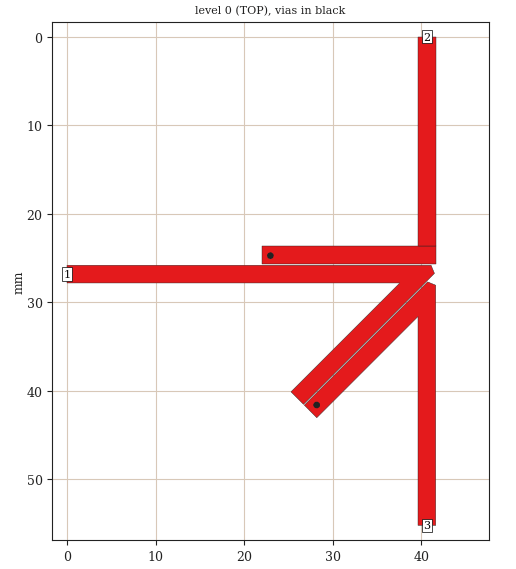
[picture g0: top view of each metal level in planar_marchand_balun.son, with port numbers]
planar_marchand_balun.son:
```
FTYP SONPROJ 13 ! Sonnet Project File
VER 15.52
DIM
ANG DEG
CAP PF
CON /OH
FREQ GHZ
IND NH
LNG MM
RES OH
END DIM
FREQ
SWEEP 0.01 6.0 0.2
END FREQ
CONTROL
STD
OPTIONS  -d
SPEED 0
CACHE_ABS 1
Q_ACC N
END CONTROL
GEO
TMET "Lossless" 0 SUP 0 0 0 0
BMET "Lossless" 0 SUP 0 0 0 0
MET "Copper" 1 NOR 58000000 1 0.035 
MET "Copper" 1 VOL 58000000 SOLID 0
BOX 1 46 55.2 1840 2208 20 0
      20 1 1 0 0 0 0 "AIr"
      1.6 4.3 1 0.02 0 0 0 "FR-4"
TECHLAY METAL TOP TOP -2 0 
0 0 0 N 0 1 1 100 100 0 0 0 Y
END
END
TECHLAY VIA Vias DIELECTRIC -1 0 
VIA POLYGON
0 0 1 N 0 1 1 100 100 0 0 0 Y
TOLEVEL GND RING NOCOVERS
END
END
LORGN 0 55.2 U 
POR1 STD
POLY 11 1
3
1 50 0 0 0 0 26.82537384 
POR1 STD
POLY 13 1
8
3 50 0 0 0 40.63887024 55.2 
POR1 STD
POLY 20 1
0
2 50 0 0 0 40.67889786 0.01071472168 
NUM 10
0 11 0 N 11 1 1 100 100 0 0 0 Y
TLAYNAM TOP INH
41.49660492 26.74298115
41.11651611 25.82537384
14 25.82537384
0 25.82537384
0 27.82537384
14 27.82537384
37.58578491 27.82537384
25.29289246 40.11826665
26.70710754 41.53248025
41.49660492 26.74298115
41.49660492 26.74298115
END
0 11 0 N 13 1 1 100 100 0 0 0 Y
TLAYNAM TOP INH
41.63887024 55.2
41.63887024 39.77182312
41.63887024 28.08156319
40.72126007 27.7014782
26.79782104 41.62491791
28.20638275 43.04478366
39.63887024 31.61229725
39.63887024 39.77182312
39.63887024 55.2
41.63887024 55.2
41.63887024 55.2
END
0 37 0 N 15 1 1 100 100 0 0 0 Y
TLAYNAM TOP INH
28.56821442 41.60567449
28.56251526 41.54055641
28.54560089 41.47741694
28.51797485 41.41817446
28.48048401 41.3646291
28.43425751 41.31840785
28.38071442 41.28091497
28.32147217 41.25328977
28.2583313 41.23637159
28.19321442 41.23067446
28.12809753 41.23637159
28.06495667 41.25328977
28.00571442 41.28091491
27.95217133 41.31840779
27.90594482 41.36462904
27.86845398 41.4181744
27.84082794 41.47741683
27.82391357 41.54055629
27.81821442 41.60567434
27.82391357 41.67079241
27.84082794 41.73393188
27.86845398 41.79317434
27.90594482 41.84671969
27.95217133 41.8929411
28.00571442 41.93043394
28.06495667 41.95805917
28.12809753 41.97497736
28.19321442 41.98067449
28.2583313 41.97497742
28.32147217 41.95805929
28.38071442 41.93043412
28.43425751 41.89294131
28.48048401 41.84672002
28.51797485 41.79317471
28.54560089 41.7339323
28.56251526 41.67079283
28.56821442 41.60567449
END
0 37 0 N 16 1 1 100 100 0 0 0 Y
TLAYNAM TOP INH
28.61821747 41.60567449
28.61175537 41.53187401
28.5925827 41.4603159
28.56127167 41.39317448
28.51878357 41.33248974
28.46640015 41.28010554
28.40571594 41.23761363
28.33856964 41.2063051
28.26701355 41.18713118
28.19321442 41.18067451
28.11941528 41.18713118
28.04785919 41.2063051
27.98071289 41.23761363
27.92002869 41.28010554
27.86764526 41.33248968
27.82515717 41.39317436
27.79384613 41.46031578
27.77467346 41.53187386
27.76821136 41.60567431
27.77467346 41.67947478
27.79384613 41.75103287
27.82515717 41.81817431
27.86764526 41.87885906
27.92002869 41.93124331
27.98071289 41.97373523
28.04785919 42.00504382
28.11941528 42.02421777
28.19321442 42.0306745
28.26701355 42.02421783
28.33856964 42.00504394
28.40571594 41.9737354
28.46640015 41.93124355
28.51878357 41.87885944
28.56127167 41.81817475
28.5925827 41.75103333
28.61175537 41.67947526
28.61821747 41.60567449
END
0 37 0 N 17 1 1 100 100 0 0 0 Y
TLAYNAM TOP INH
23.34286499 24.74294777
23.33716583 24.67782898
23.32025146 24.61469002
23.29262543 24.55544777
23.25513458 24.50190277
23.20890808 24.45568199
23.15536499 24.41818733
23.09612274 24.3905632
23.03298187 24.37364502
22.96786499 24.36794777
22.90274811 24.37364502
22.83960724 24.3905632
22.78036499 24.41818733
22.7268219 24.45568199
22.6805954 24.50190277
22.64310455 24.55544777
22.61547852 24.61469002
22.59856415 24.67782898
22.59286499 24.74294777
22.59856415 24.80806656
22.61547852 24.87120552
22.64310455 24.93044777
22.6805954 24.98399277
22.7268219 25.03021355
22.78036499 25.0677063
22.83960724 25.09533234
22.90274811 25.11225052
22.96786499 25.11794777
23.03298187 25.11225052
23.09612274 25.09533234
23.15536499 25.06770821
23.20890808 25.03021545
23.25513458 24.98399277
23.29262543 24.93044777
23.32025146 24.87120552
23.33716583 24.80806656
23.34286499 24.74294777
END
0 37 0 N 18 1 1 100 100 0 0 0 Y
TLAYNAM TOP INH
23.39286804 24.74294777
23.38640594 24.66914673
23.36723328 24.59758873
23.33592224 24.53044815
23.29343414 24.46976395
23.24105072 24.41737862
23.18036652 24.3748867
23.11322021 24.34357758
23.04166412 24.32440491
22.96786499 24.31794853
22.89406586 24.32440491
22.82250977 24.34357758
22.75536346 24.3748867
22.69467926 24.41737862
22.64229584 24.46976204
22.59980774 24.53044815
22.5684967 24.59758873
22.54932404 24.66914673
22.54286194 24.74294777
22.54932404 24.81674881
22.5684967 24.88830681
22.59980774 24.95544739
22.64229584 25.01613159
22.69467926 25.06851692
22.75536346 25.11100883
22.82250977 25.14231796
22.89406586 25.16149063
22.96786499 25.16794701
23.04166412 25.16149063
23.11322021 25.14231796
23.18036652 25.11100883
23.24105072 25.06851692
23.29343414 25.0161335
23.33592224 24.95544739
23.36723328 24.88830681
23.38640594 24.81674881
23.39286804 24.74294777
END
0 6 0 N 19 1 1 100 100 0 0 0 Y
TLAYNAM TOP INH
41.67922211 23.67927475
21.99313354 23.67927475
21.99313354 25.67927475
41.67922211 25.67927475
41.67922211 23.67927475
41.67922211 23.67927475
END
0 6 0 N 20 1 1 100 100 0 0 0 Y
TLAYNAM TOP INH
41.67922211 0.01071472168
39.67857361 0.01071472168
39.67857361 23.67927475
41.67922211 23.67927475
41.67922211 0.01071472168
41.67922211 0.01071472168
END
VIA POLYGON
0 37 1 N 23 1 1 100 100 0 0 0 Y
TOLEVEL GND RING NOCOVERS
TLAYNAM Vias INH
28.56821442 41.60567449
28.56251526 41.54055641
28.54560089 41.47741694
28.51797485 41.41817446
28.48048401 41.3646291
28.43425751 41.31840785
28.38071442 41.28091497
28.32147217 41.25328977
28.2583313 41.23637159
28.19321442 41.23067446
28.12809753 41.23637159
28.06495667 41.25328977
28.00571442 41.28091491
27.95217133 41.31840779
27.90594482 41.36462904
27.86845398 41.4181744
27.84082794 41.47741683
27.82391357 41.54055629
27.81821442 41.60567434
27.82391357 41.67079241
27.84082794 41.73393188
27.86845398 41.79317434
27.90594482 41.84671969
27.95217133 41.8929411
28.00571442 41.93043394
28.06495667 41.95805917
28.12809753 41.97497736
28.19321442 41.98067449
28.2583313 41.97497742
28.32147217 41.95805929
28.38071442 41.93043412
28.43425751 41.89294131
28.48048401 41.84672002
28.51797485 41.79317471
28.54560089 41.7339323
28.56251526 41.67079283
28.56821442 41.60567449
END
VIA POLYGON
0 37 1 N 24 1 1 100 100 0 0 0 Y
TOLEVEL GND RING NOCOVERS
TLAYNAM Vias INH
23.34286499 24.74294777
23.33716583 24.67782898
23.32025146 24.61469002
23.29262543 24.55544777
23.25513458 24.50190277
23.20890808 24.45568199
23.15536499 24.41818733
23.09612274 24.3905632
23.03298187 24.37364502
22.96786499 24.36794777
22.90274811 24.37364502
22.83960724 24.3905632
22.78036499 24.41818733
22.7268219 24.45568199
22.6805954 24.50190277
22.64310455 24.55544777
22.61547852 24.61469002
22.59856415 24.67782898
22.59286499 24.74294777
22.59856415 24.80806656
22.61547852 24.87120552
22.64310455 24.93044777
22.6805954 24.98399277
22.7268219 25.03021355
22.78036499 25.0677063
22.83960724 25.09533234
22.90274811 25.11225052
22.96786499 25.11794777
23.03298187 25.11225052
23.09612274 25.09533234
23.15536499 25.06770821
23.20890808 25.03021545
23.25513458 24.98399277
23.29262543 24.93044777
23.32025146 24.87120552
23.33716583 24.80806656
23.34286499 24.74294777
END
END GEO
OPT
MAX 100
VARS
END
END OPT
VARSWP
END VARSWP
```
